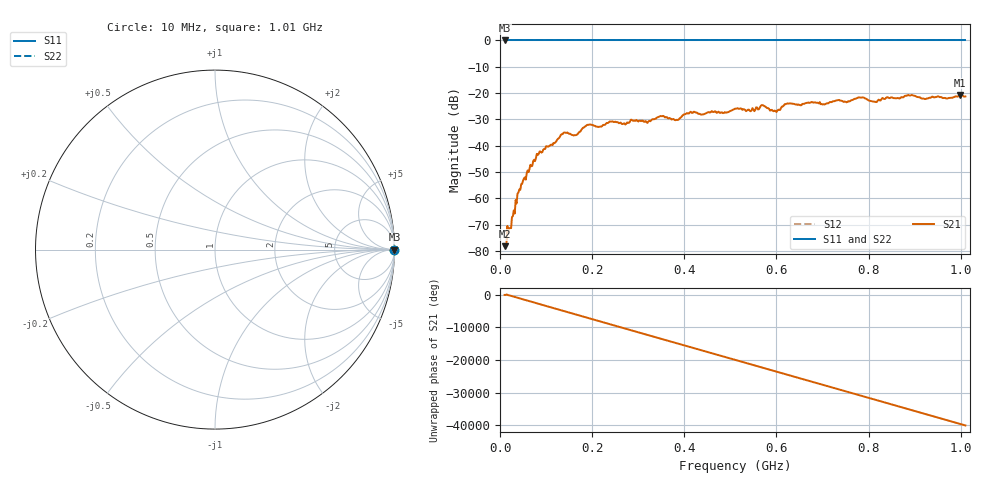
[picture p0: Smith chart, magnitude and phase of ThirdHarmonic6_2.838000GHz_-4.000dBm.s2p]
! 8/17/2025 7:36:20 AM
! C:\ANRITSUVNA\TEMP\TEMP.S2P
! CHANNEL.1
! TR.MEASUREMENT
! RAW.DATA
! RF.CORRECTION.OFF
! AVERAGING.OFF
! IF.BANDWIDTH: 5KHZ
! SWEEPTYPE:  FREQ.SWEEP(Linear)
! Reference Plane Port Info
! PORT:  PORT1  PORT2
! DISTANCE:  0  m  0  m
! TIME:  0  s  0  s
! PHASE.OFFSET:  0  deg.  0  deg.
! LOSS:  0  dB  0  dB
! REF.LOSS:  0  dB  0  dB
! REF.FREQ:  0  Hz  0  Hz
! Power Info
! POWER:  -20  dBm  -20  dBm
! EFF.POWER:  -20  dBm  -20  dBm
! SOURCE.ATTEN:  0  dB  0  dB
! TEST.ATTEN:  0  dB  0  dB
# GHZ S RI R 50.0
! FREQ.GHZ  S11RE  S11IM  S21RE  S21IM  S12RE  S12IM  S22RE  S22IM
!; PortSelection: Port_12
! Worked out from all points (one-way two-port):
!   501 points, 10 MHz to 1.01 GHz, reference 50 ohm
!   highest |S21| = -20.68 dB at 998 MHz (marker M1); lowest = -78.2 dB at 10 MHz (marker M2)
!   lowest |S11| = 0.0 dB at 10 MHz (marker M3)
!   |S11| at or under -10 dB: nowhere
!   |S22| runs from 0.0 to 0.0 dB; largest |S21 - S12| = 1.1
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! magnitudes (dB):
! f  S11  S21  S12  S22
! 10 MHz  0.0  -78.2  0.0  0.0
! 42 MHz  0.0  -56.6  0.0  0.0
! 82 MHz  0.0  -43.5  0.0  0.0
! 136 MHz  0.0  -35.6  0.0  0.0
! 164 MHz  0.0  -36.0  0.0  0.0
! 178 MHz  0.0  -33.6  0.0  0.0
! 192 MHz  0.0  -32.1  0.0  0.0
! 322 MHz  0.0  -30.8  0.0  0.0
! 344 MHz  0.0  -29.1  0.0  0.0
! 384 MHz  0.0  -30.1  0.0  0.0
! 410 MHz  0.0  -27.8  0.0  0.0
! 510 MHz  0.0  -25.9  0.0  0.0
! 548 MHz  0.0  -25.7  0.0  0.0
! 570 MHz  0.0  -24.6  0.0  0.0
! 598 MHz  0.0  -26.8  0.0  0.0
! 622 MHz  0.0  -24.1  0.0  0.0
! 678 MHz  0.0  -23.5  0.0  0.0
! 782 MHz  0.0  -21.7  0.0  0.0
! 814 MHz  0.0  -23.3  0.0  0.0
! 844 MHz  0.0  -21.9  0.0  0.0
! 998 MHz  0.0  -20.7  0.0  0.0
! 1.01 GHz  0.0  -21.3  0.0  0.0
